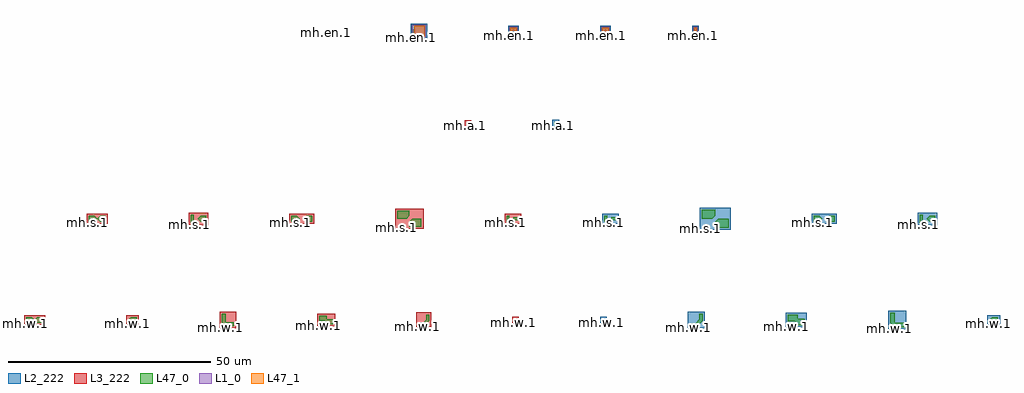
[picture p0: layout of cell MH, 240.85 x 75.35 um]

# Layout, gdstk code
import gdstk
lib = gdstk.Library(unit=1e-6, precision=5e-09)
def R(c, l, rs):  # rectangles x0, y0, x1, y1
    for r in rs: c.add(gdstk.rectangle(r[:2], r[2:], *l))
def P(c, l, *ps):  # polygons
    for p in ps: c.add(gdstk.Polygon(p, *l))
L1_0 = (1, 0)
L2_222 = (2, 222)
L3_222 = (3, 222)
L47_0 = (47, 0)
L47_1 = (47, 1)

c_mh = lib.new_cell('MH')
R(c_mh, L1_0, [(-47,69.98,-43.45,73.18), (-22.95,70.48,-20.75,72.68), (-0.25,70.48,1.95,72.68), (22.45,70.48,23.65,72.68), (-68.1,71.28,-67.5,71.88)])
R(c_mh, L2_222, [(70.565,-1.92,75.095,2.61), (21.2,-1.715,25.33,2.415), (45.33,-1.465,50.56,2.165), (95.1,-0.85,98.2,1.55), (-0.5,-0.5,1.2,1.2), (24.13,22.615,31.73,28.015), (77.93,23.765,82.73,26.865), (0.03,24.115,4.13,26.515), (51.73,24.115,57.93,26.515), (-12.265,48.015,-10.555,49.725), (-47.25,69.73,-43.2,73.43), (-23.2,70.23,-20.5,72.93), (-0.5,70.23,2.2,72.93), (22.2,70.23,23.9,72.93)])
R(c_mh, L3_222, [(-94.38,-1.675,-90.33,2.375), (-45.89,-1.5,-42.19,2.2), (-70.33,-1.22,-65.89,1.92), (-142.65,-0.85,-137.45,1.55), (-117.45,-0.84,-114.38,1.54), (-22.19,-0.495,-20.5,1.195), (-51,22.835,-44.06,27.795), (-101.98,23.765,-97.19,26.865), (-127.18,24.115,-121.98,26.515), (-77.19,24.115,-71,26.515), (-24.06,24.115,-19.97,26.515), (-33.895,48.055,-32.265,49.685), (-68.35,71.03,-67.25,72.13)])
R(c_mh, L47_0, [(0,0,0.7,0.7), (-21.69,0.005,-21,0.695), (-101.48,24.265,-100.78,26.365), (78.43,24.265,79.13,26.365), (-23.56,24.615,-22.86,26.015), (0.53,24.615,1.23,26.015), (-21.87,24.965,-20.47,25.665), (2.23,24.965,3.63,25.665), (-11.765,48.515,-11.055,49.225), (-33.395,48.555,-32.765,49.185), (-46.75,71.23,-46.05,71.93), (-22.2,71.23,-21.5,71.93), (0.5,71.23,1.2,71.93), (22.7,71.23,23.4,71.93), (-67.85,71.53,-67.75,71.63)])
P(c_mh, L47_0, [(21.7,-1.215),(21.7,-0.415),(23.135,-0.415),(24.03,0.48),(24.03,1.915),(24.83,1.915),(24.83,0.15),(23.465,-1.215)],
  [(-45.39,-1),(-45.39,-0.31),(-44.155,-0.31),(-43.38,0.465),(-43.38,1.7),(-42.69,1.7),(-42.69,0.18),(-43.865,-1)],
  [(47.665,-0.97),(47.665,0.065),(45.83,0.065),(45.83,1.665),(48.23,1.665),(48.23,0.63),(50.065,0.63),(50.065,-0.97)],
  [(-68.34,-0.72),(-68.34,0.12),(-69.83,0.12),(-69.83,1.42),(-67.88,1.42),(-67.88,0.58),(-66.39,0.58),(-66.39,-0.72)],
  [(72.195,-1.42),(71.065,-0.29),(71.065,2.115),(72.2,2.115),(72.2,-0.285),(74.6,-0.285),(74.6,-1.42),(72.2,-1.42),(72.2,-1.42)],
  [(-92.905,-1.175),(-93.88,-0.2),(-93.88,1.875),(-92.9,1.875),(-92.9,-0.195),(-90.83,-0.195),(-90.83,-1.175),(-92.9,-1.175),(-92.9,-1.175)],
  [(95.6,-0.35),(95.6,0.35),(96.3,1.05),(97.7,1.05),(97.7,-0.35)],
  [(-116.95,-0.34),(-116.95,0.35),(-116.26,1.04),(-114.88,1.04),(-114.88,-0.34)],
  [(-139.35,-0.35),(-140.05,0.35),(-139.35,1.05),(-137.95,1.05),(-137.95,-0.35)],
  [(-142.15,-0.35),(-142.15,1.05),(-140.75,1.05),(-140.05,0.35),(-140.75,-0.35)],
  [(27.93,23.115),(27.93,24.535),(28.71,25.315),(31.23,25.315),(31.23,23.115)],
  [(24.63,25.315),(24.63,27.515),(27.93,27.515),(27.93,26.095),(27.15,25.315)],
  [(-47.53,23.335),(-47.53,24.615),(-46.83,25.315),(-44.56,25.315),(-44.56,23.335)],
  [(-50.5,25.315),(-50.5,27.295),(-47.53,27.295),(-47.53,26.015),(-48.23,25.315)],
  [(56.03,24.615),(55.33,25.315),(56.03,26.015),(57.43,26.015),(57.43,24.615)],
  [(52.23,24.615),(52.23,26.015),(53.63,26.015),(54.33,25.315),(53.63,24.615)],
  [(-72.9,24.615),(-73.6,25.315),(-72.9,26.015),(-71.5,26.015),(-71.5,24.615)],
  [(-76.69,24.615),(-76.69,26.015),(-75.29,26.015),(-74.59,25.315),(-75.29,24.615)],
  [(80.83,24.615),(80.13,25.315),(80.83,26.015),(82.23,26.015),(82.23,24.615)],
  [(-99.09,24.615),(-99.79,25.315),(-99.09,26.015),(-97.69,26.015),(-97.69,24.615)],
  [(-123.88,24.615),(-124.58,25.315),(-123.88,26.015),(-122.48,26.015),(-122.48,24.615)],
  [(-126.68,24.615),(-126.68,26.015),(-125.28,26.015),(-124.58,25.315),(-125.28,24.615)])
R(c_mh, L47_1, [(-46.4,70.23,-43.7,72.93), (0,70.73,1.7,72.43), (22.7,70.73,23.4,72.43)])
P(c_mh, L47_1, [(-22.7,70.73),(-22.7,71.32),(-22.11,71.32),(-21.59,71.32),(-21.59,71.84),(-22.11,71.84),(-22.11,71.32),(-22.7,71.32),(-22.7,72.43),(-21,72.43),(-21,70.73)])
c_mh.add(gdstk.Label('mh.w.1', (-0.25,-0.25), layer=11, texttype=222))
c_mh.add(gdstk.Label('mh.w.1', (-21.94,-0.245), layer=11, texttype=222))
c_mh.add(gdstk.Label('mh.w.1', (21.45,-1.465), layer=11, texttype=222))
c_mh.add(gdstk.Label('mh.w.1', (-45.64,-1.25), layer=11, texttype=222))
c_mh.add(gdstk.Label('mh.w.1', (45.58,-1.215), layer=11, texttype=222))
c_mh.add(gdstk.Label('mh.w.1', (-70.08,-0.97), layer=11, texttype=222))
c_mh.add(gdstk.Label('mh.w.1', (70.815,-1.67), layer=11, texttype=222))
c_mh.add(gdstk.Label('mh.w.1', (-94.13,-1.425), layer=11, texttype=222))
c_mh.add(gdstk.Label('mh.w.1', (95.35,-0.6), layer=11, texttype=222))
c_mh.add(gdstk.Label('mh.w.1', (-117.2,-0.59), layer=11, texttype=222))
c_mh.add(gdstk.Label('mh.w.1', (-142.4,-0.6), layer=11, texttype=222))
c_mh.add(gdstk.Label('mh.s.1', (0.28,24.365), layer=11, texttype=222))
c_mh.add(gdstk.Label('mh.s.1', (-23.81,24.365), layer=11, texttype=222))
c_mh.add(gdstk.Label('mh.s.1', (24.38,22.865), layer=11, texttype=222))
c_mh.add(gdstk.Label('mh.s.1', (-50.75,23.085), layer=11, texttype=222))
c_mh.add(gdstk.Label('mh.s.1', (51.98,24.365), layer=11, texttype=222))
c_mh.add(gdstk.Label('mh.s.1', (-76.94,24.365), layer=11, texttype=222))
c_mh.add(gdstk.Label('mh.s.1', (78.18,24.015), layer=11, texttype=222))
c_mh.add(gdstk.Label('mh.s.1', (-101.73,24.015), layer=11, texttype=222))
c_mh.add(gdstk.Label('mh.s.1', (-126.93,24.365), layer=11, texttype=222))
c_mh.add(gdstk.Label('mh.a.1', (-12.015,48.265), layer=11, texttype=222))
c_mh.add(gdstk.Label('mh.a.1', (-33.645,48.305), layer=11, texttype=222))
c_mh.add(gdstk.Label('mh.en.1', (-0.25,70.48), layer=11, texttype=222))
c_mh.add(gdstk.Label('mh.en.1', (-22.95,70.48), layer=11, texttype=222))
c_mh.add(gdstk.Label('mh.en.1', (22.45,70.48), layer=11, texttype=222))
c_mh.add(gdstk.Label('mh.en.1', (-47,69.98), layer=11, texttype=222))
c_mh.add(gdstk.Label('mh.en.1', (-68.1,71.28), layer=11, texttype=222))

lib.write_gds('MH.gds')
